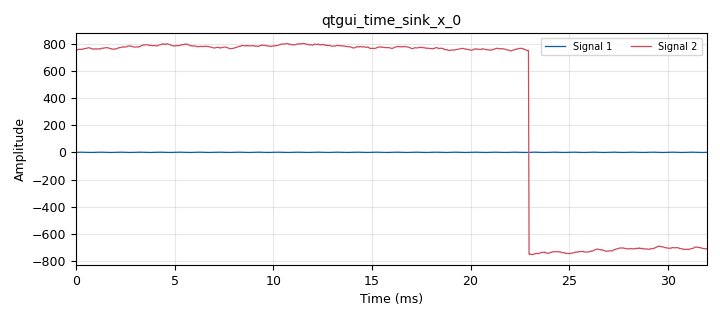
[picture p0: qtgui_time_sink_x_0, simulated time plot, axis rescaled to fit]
options:
  parameters:
    generate_options: qt_gui
    id: Practica_1
    output_language: python
    title: Practica 1
  states: {}

blocks:
- name: samp_rate
  id: variable
  parameters:
    value: '32000'
  states: {}
- name: DESVIACION_EST
  id: qtgui_number_sink
  parameters:
    graph_type: qtgui.NUM_GRAPH_HORIZ
    name: '"DESVIACION ESTANDAR"'
    type: float
  states: {}
- name: MEDIA
  id: qtgui_number_sink
  parameters:
    graph_type: qtgui.NUM_GRAPH_HORIZ
    name: '"MEDIA"'
    type: float
  states: {}
- name: MEDIA_CUADRATICA
  id: qtgui_number_sink
  parameters:
    graph_type: qtgui.NUM_GRAPH_HORIZ
    name: '"MEDIA CUADRATICA"'
    type: float
  states: {}
- name: POTENCIA_PROMEDIO
  id: qtgui_number_sink
  parameters:
    graph_type: qtgui.NUM_GRAPH_HORIZ
    name: '"POTENCIA PROMEDIO"'
    type: float
  states: {}
- name: RMS
  id: qtgui_number_sink
  parameters:
    graph_type: qtgui.NUM_GRAPH_HORIZ
    name: '"RMS"'
    type: float
  states: {}
- name: analog_noise_source_x_0
  id: analog_noise_source_x
  parameters:
    amp: '1.5'
    noise_type: analog.GR_GAUSSIAN
    seed: '0'
    type: float
  states: {}
- name: analog_sig_source_x_0
  id: analog_sig_source_x
  parameters:
    amp: '1'
    freq: '1000'
    offset: '0'
    phase: '0'
    samp_rate: samp_rate
    type: float
    waveform: analog.GR_SIN_WAVE
  states: {}
- name: blocks_add_xx_0
  id: blocks_add_xx
  parameters:
    type: float
  states: {}
- name: epy_block_0
  id: epy_block
  parameters:
    _source_code: |
      import numpy as np
      from gnuradio import gr

      class blk (gr. sync_block ):
      	def __init__ ( self ) : # only default arguments here
      	    gr. sync_block . __init__ (
          		self ,
      		name ='e_Acum ', # will show up in GRC
      		in_sig =[ np. float32 ],
      		out_sig =[ np. float32 ]
      		
      	)
      	def work (self , input_items , output_items ):
      		x = input_items [0] # Senial de entrada .
      		y0 = output_items [0] # Senial acumulada
      		y0 [:] = np. cumsum (x)
      		return len (y0)
  states: {state: disabled}
- name: epy_block_1
  id: epy_block
  parameters:
    _source_code: |
      import numpy as np
      from gnuradio import gr
      class blk (gr. sync_block ):
      	def __init__ ( self ) : # only default arguments here
      		gr. sync_block . __init__ (
      			self ,
      			name ='e_Diff ', # will show up in GRC
      			in_sig =[ np. float32 ],
      			out_sig =[ np. float32 ]
      		)
      		self.acum_anterior = 0
      		
      	def work (self , input_items , output_items ):
      		x = input_items [0] # Senial de entrada .
      		y0 = output_items [0] # Senial acumulada diferencial
      		
      		N = len (x)
      		diff = np. cumsum (x) - self . acum_anterior
      		self . acum_anterior = diff [N -1]
      		y0 [:] = diff
      		return len (y0)
  states: {}
- name: epy_block_2
  id: epy_block
  parameters:
    _source_code: |
      import numpy as np
      from gnuradio import gr
      class blk (gr. sync_block ):

      	def __init__ ( self ) : # only default arguments here
      		gr. sync_block . __init__ (
      			self ,
      			name ='Promedios_de_tiempos ', # will show up in GRC
      			in_sig =[ np. float32 ],
      			out_sig =[ np. float32 ,np. float32 ,np. float32 ,np. float32 ,np. float32 ]
      		)
      		self . acum_anterior = 0
      		self . Ntotales = 0
      		self . acum_anterior1 = 0
      		self . acum_anterior2 = 0
      		
      	def work (self , input_items , output_items ):
      		x = input_items [0] # Senial de entrada .
      		y0 = output_items [0] # Promedio de la senial
      		y1 = output_items [1] # Media de la senial
      		y2 = output_items [2] # RMS de la senial
      		y3 = output_items [3] # Potencia promedio de la senial
      		y4 = output_items [4] # Desviacion estandar de la senial
      		
      		
      		# Calculo del promedio
      		N = len (x)
      		self . Ntotales = self . Ntotales + N
      		acumulado = self . acum_anterior + np. cumsum (x)
      		self . acum_anterior = acumulado [N -1]
      		y0 [:]= acumulado / self . Ntotales
      		
      		
      		# Calculo de la media cuadratica
      		x2=np. multiply (x,x)
      		acumulado1 = self . acum_anterior1 + np. cumsum (x2)
      		self . acum_anterior1 = acumulado [N -1]
      		y1 [:] = acumulado1 / self . Ntotales
      		
      		# Calculo de la RMS
      		y2 [:] = np. sqrt (y1)
      		
      		# Calculo de la potencia promedio
      		y3 [:] = np. multiply (y2 ,y2)
      		
      		# Calculo de la desviacion estandar
      		x3 = np. multiply (x-y0 ,x-y0)
      		acumulado2 = self . acum_anterior2 + np. cumsum (x3)
      		self . acum_anterior2 = acumulado2 [N -1]
      		y4 [:] = np. sqrt ( acumulado2 / self . Ntotales )
      		
      		# Señal de entrada vista en grafico
      	
      		
      		return len (x)
  states: {}
- name: qtgui_time_sink_x_0
  id: qtgui_time_sink_x
  parameters:
    nconnections: '2'
    size: '1024'
    srate: samp_rate
    type: float
  states: {}

connections:
- [analog_noise_source_x_0, '0', blocks_add_xx_0, '1']
- [analog_sig_source_x_0, '0', blocks_add_xx_0, '0']
- [analog_sig_source_x_0, '0', qtgui_time_sink_x_0, '0']
- [blocks_add_xx_0, '0', epy_block_0, '0']
- [blocks_add_xx_0, '0', epy_block_1, '0']
- [epy_block_0, '0', epy_block_2, '0']
- [epy_block_0, '0', qtgui_time_sink_x_0, '1']
- [epy_block_1, '0', epy_block_2, '0']
- [epy_block_1, '0', qtgui_time_sink_x_0, '1']
- [epy_block_2, '0', MEDIA, '0']
- [epy_block_2, '1', MEDIA_CUADRATICA, '0']
- [epy_block_2, '2', RMS, '0']
- [epy_block_2, '3', POTENCIA_PROMEDIO, '0']
- [epy_block_2, '4', DESVIACION_EST, '0']

metadata:
  file_format: 1
  grc_version: 3.10.9.2
